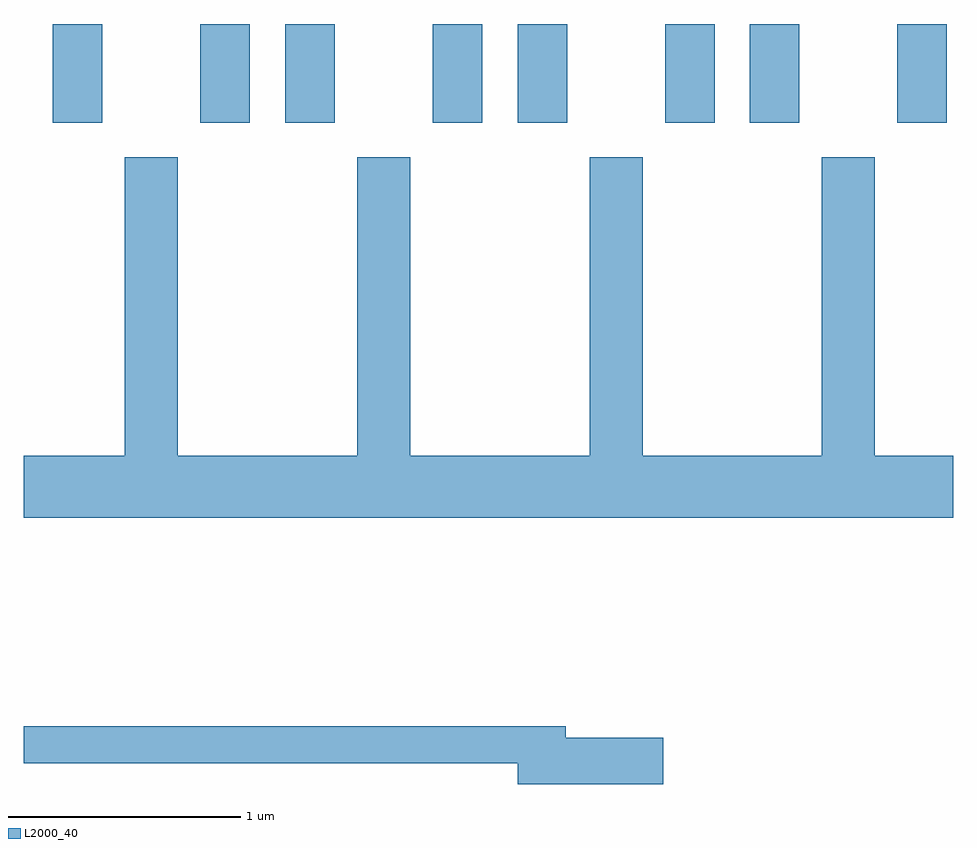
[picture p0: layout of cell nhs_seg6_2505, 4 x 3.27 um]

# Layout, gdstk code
import gdstk
lib = gdstk.Library(unit=1e-6, precision=1e-09)
def R(c, l, rs):  # rectangles x0, y0, x1, y1
    for r in rs: c.add(gdstk.rectangle(r[:2], r[2:], *l))
def P(c, l, *ps):  # polygons
    for p in ps: c.add(gdstk.Polygon(p, *l))
L2000_40 = (2000, 40)

nhs_seg6_2505 = lib.new_cell('nhs_seg6_2505')
R(nhs_seg6_2505, L2000_40, [(261.736,1551.736,261.949,1552.162), (262.371,1551.736,262.584,1552.162), (262.736,1551.736,262.949,1552.162), (263.371,1551.736,263.584,1552.162), (263.736,1551.736,263.949,1552.162), (264.371,1551.736,264.584,1552.162), (264.736,1551.736,264.949,1552.162), (265.371,1551.736,265.584,1552.162)])
P(nhs_seg6_2505, L2000_40, [(265.611,1550.304),(265.274,1550.304),(265.274,1551.589),(265.046,1551.589),(265.046,1550.304),(264.274,1550.304),(264.274,1551.589),(264.046,1551.589),(264.046,1550.304),(263.274,1550.304),(263.274,1551.589),(263.046,1551.589),(263.046,1550.304),(262.274,1550.304),(262.274,1551.589),(262.046,1551.589),(262.046,1550.304),(261.611,1550.304),(261.611,1550.036),(265.611,1550.036)],
  [(264.364,1549.089),(263.944,1549.089),(263.944,1549.139),(261.611,1549.139),(261.611,1548.981),(263.736,1548.981),(263.736,1548.891),(264.364,1548.891)])

lib.write_gds('nhs_seg6_2505.gds')
